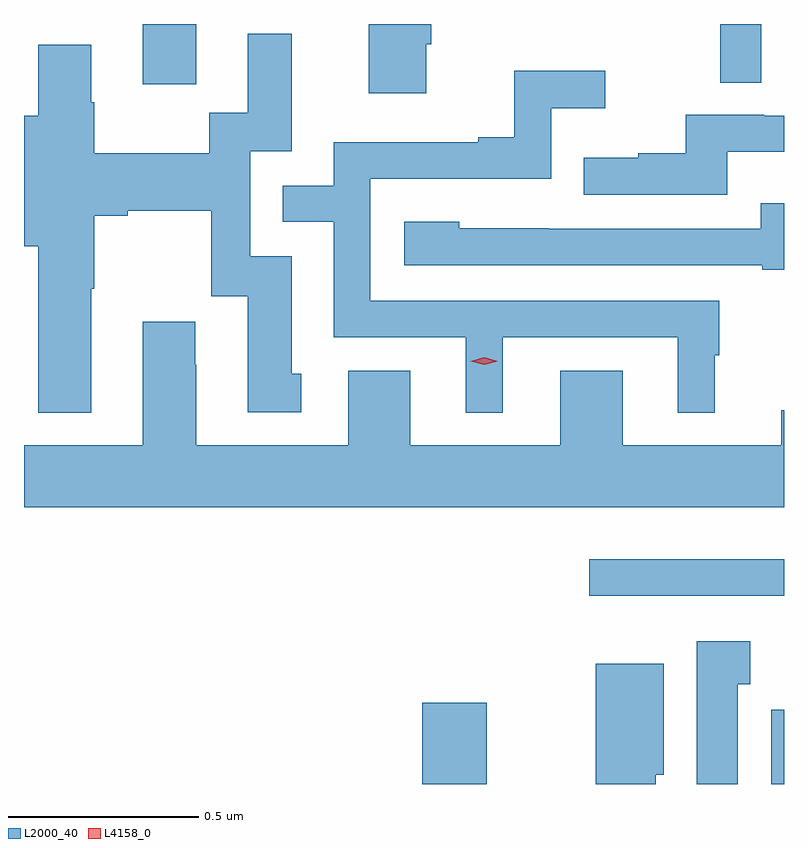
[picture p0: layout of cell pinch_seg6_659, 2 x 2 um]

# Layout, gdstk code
import gdstk
lib = gdstk.Library(unit=1e-6, precision=1e-09)
def R(c, l, rs):  # rectangles x0, y0, x1, y1
    for r in rs: c.add(gdstk.rectangle(r[:2], r[2:], *l))
def P(c, l, *ps):  # polygons
    for p in ps: c.add(gdstk.Polygon(p, *l))
L2000_40 = (2000, 40)
L4158_0 = (4158, 0)

pinch_seg6_659 = lib.new_cell('pinch_seg6_659')
R(pinch_seg6_659, L2000_40, [(414.416,937.284,414.586,937.498), (415.334,937.284,415.368,937.48), (414.855,937.779,415.368,937.876), (413.681,939.126,413.821,939.284), (415.2,939.13,415.308,939.284)])
P(pinch_seg6_659, L2000_40, [(414.427,939.231),(414.44,939.231),(414.44,939.284),(414.275,939.284),(414.275,939.102),(414.427,939.102)],
  [(413.545,938.587),(413.553,938.587),(413.553,938.78),(413.641,938.78),(413.641,938.792),(413.861,938.792),(413.861,938.568),(413.957,938.568),(413.957,938.262),(414.097,938.262),(414.097,938.364),(414.073,938.364),(414.073,938.673),(413.964,938.673),(413.964,938.949),(414.073,938.949),(414.073,939.259),(413.957,939.259),(413.957,939.05),(413.856,939.05),(413.856,938.944),(413.553,938.944),(413.553,939.078),(413.545,939.078),(413.545,939.229),(413.405,939.229),(413.405,939.043),(413.368,939.043),(413.368,938.699),(413.405,938.699),(413.405,938.261),(413.545,938.261)],
  [(414.628,938.46),(415.088,938.46),(415.088,938.261),(415.186,938.261),(415.186,938.412),(415.198,938.412),(415.198,938.556),(414.279,938.556),(414.279,938.877),(414.756,938.877),(414.756,939.062),(414.898,939.062),(414.898,939.161),(414.658,939.161),(414.658,938.986),(414.563,938.986),(414.563,938.973),(414.183,938.973),(414.183,938.859),(414.049,938.859),(414.049,938.763),(414.183,938.763),(414.183,938.46),(414.53,938.46),(414.53,938.261),(414.628,938.261)],
  [(415.219,938.948),(415.368,938.948),(415.368,939.042),(415.316,939.042),(415.316,939.045),(415.109,939.045),(415.109,938.944),(414.985,938.944),(414.985,938.932),(414.841,938.932),(414.841,938.835),(415.219,938.835)],
  [(415.368,938.812),(415.307,938.812),(415.307,938.745),(414.749,938.745),(414.749,938.746),(414.513,938.746),(414.513,938.764),(414.369,938.764),(414.369,938.649),(415.311,938.649),(415.311,938.637),(415.368,938.637)],
  [(415.368,938.267),(415.361,938.267),(415.361,938.176),(414.943,938.176),(414.943,938.371),(414.779,938.371),(414.779,938.176),(414.385,938.176),(414.385,938.371),(414.221,938.371),(414.221,938.176),(413.821,938.176),(413.821,938.387),(413.818,938.387),(413.818,938.5),(413.681,938.5),(413.681,938.176),(413.368,938.176),(413.368,938.012),(415.368,938.012)],
  [(415.246,937.547),(415.279,937.547),(415.279,937.66),(415.139,937.66),(415.139,937.284),(415.246,937.284)],
  [(415.03,937.308),(415.051,937.308),(415.051,937.6),(414.872,937.6),(414.872,937.284),(415.03,937.284)])
P(pinch_seg6_659, L4158_0, [(414.579,938.387),(414.543,938.397),(414.543,938.397),(414.543,938.397),(414.579,938.407),(414.615,938.397),(414.615,938.397),(414.615,938.397)])

lib.write_gds('pinch_seg6_659.gds')
